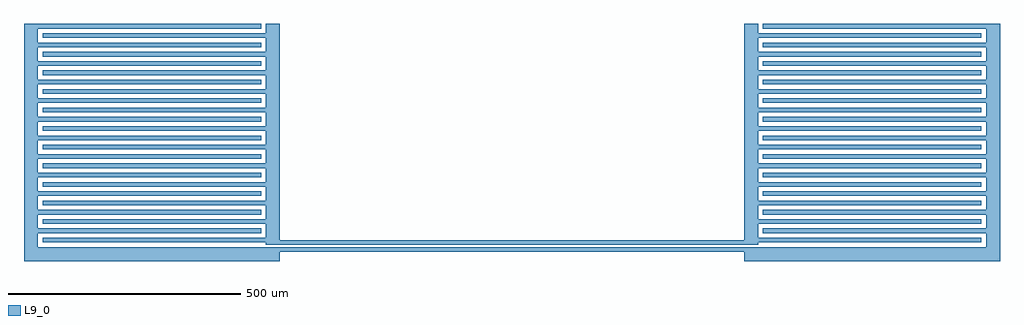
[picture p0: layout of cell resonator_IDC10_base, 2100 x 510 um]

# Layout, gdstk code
from math import pi, radians
import gdstk
lib = gdstk.Library(unit=1e-6, precision=1e-09)
def R(c, l, rs):  # rectangles x0, y0, x1, y1
    for r in rs: c.add(gdstk.rectangle(r[:2], r[2:], *l))
L9_0 = (9, 0)

finger_pair_idc10 = lib.new_cell('finger_pair_IDC10')
R(finger_pair_idc10, L9_0, [(40,40,520,50), (30,60,510,70)])

idc10_base = lib.new_cell('IDC10_base')
R(idc10_base, L9_0, [(0,0,30,510), (30,0,550,30), (520,35,550,510)])
r = gdstk.Reference(finger_pair_idc10, (0,0)); r.repetition = gdstk.Repetition(1, 12, v1=(490,0), v2=(0,40)); idc10_base.add(r)

resonator_idc10_base = lib.new_cell('resonator_IDC10_base')
R(resonator_idc10_base, L9_0, [(550,20,1550,30), (550,35,1550,45)])
resonator_idc10_base.add(gdstk.Reference(idc10_base, (2100,0), rotation=pi, x_reflection=True))
resonator_idc10_base.add(gdstk.Reference(idc10_base, (0,0)))

lib.write_gds('resonator_IDC10_base.gds')
